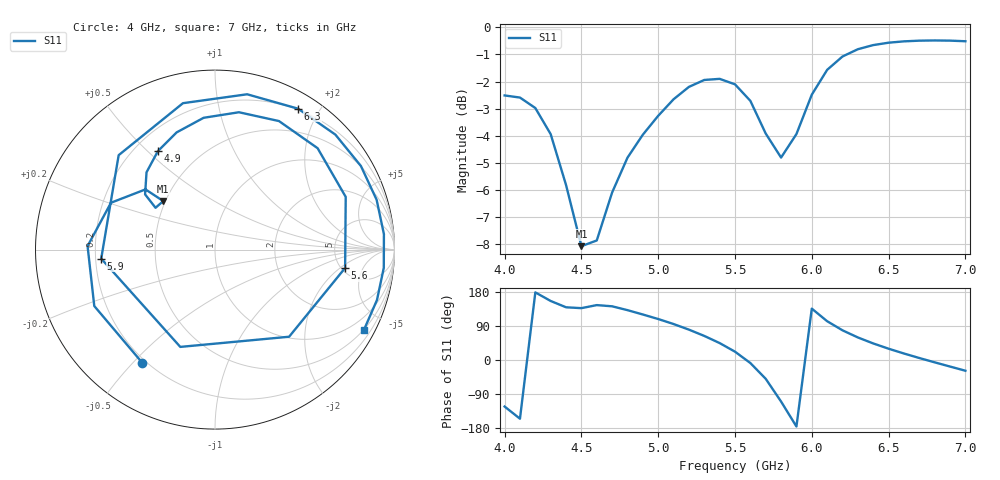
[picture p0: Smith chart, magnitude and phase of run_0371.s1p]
! Touchstone file exported from HFSS 2024.2.0
!  File:  C:/Users/wsak9/Desktop/Sim Fast/Widenad Patch/WP_AI_V1_sweep.aedt
!  Generated:  06:48:53 AM Oct 14, 2026
!  Design:  A1_model
!  Project:  WP_AI_V1_sweep
!  Setup:  Setup1
!  Solution:  Sweep
! Variables:
!  Air_gap = 3.69mm
!  Curve_Amp1 = 3.6
!  Curve_len1 = 1
!  Curve_pos = 12.495mm
!  Extra = 3.63mm
!  H_sub = 0.79mm
!  L_Patch = 20.99mm
!  L_Patch1 = 19.09mm
!  Sx = 0.91mm
!  Sy = 4.1mm
!  WS = 0.79mm
!  W_Patch = 12.9mm
!  W_Patch1 = 15.46mm
!Data is not renormalized
# GHz S MA
! Terminal data exported
! Port[1] = 1
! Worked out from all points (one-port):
!   31 points, 4 GHz to 7 GHz, reference per port
!   lowest |S11| = -8.1 dB at 4.5 GHz (marker M1), VSWR 2.31
!   |S11| at or under -10 dB: nowhere
!   S11 on the Smith chart (normalised r, x): 4 GHz: 0.18, -0.53; 4.9 GHz: 0.29, +0.54; 5.6 GHz: 5.39, -2.37; 5.9 GHz: 0.22, -0.04; 6.3 GHz: 0.19, +1.74; 7 GHz: 0.49, -3.91
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4  0.7491 -122.8
4.1  0.7424 -154.9
4.2  0.7102 178.4
4.3  0.6357 155.7
4.4  0.5123 139.1
4.5  0.3953 136.8
4.6  0.4049 144.9
4.7  0.4963 141.7
4.8  0.5753 131.5
4.9  0.6343 120.1
5.1  0.737 94.9
5.2  0.7768 80.1
5.3  0.8 63.5
5.4  0.8037 44.7
5.5  0.7853 22.0
5.6  0.7322 -8.0
5.7  0.6373 -49.6
5.8  0.5756 -109.6
5.9  0.636 -175.5
6  0.7516 135.6
6.1  0.8351 102.3
6.2  0.8837 78.3
6.3  0.9114 59.5
6.4  0.9275 43.7
6.5  0.937 29.8
6.7  0.9451 5.2
6.8  0.9459 -6.2
7  0.9427 -28.3
